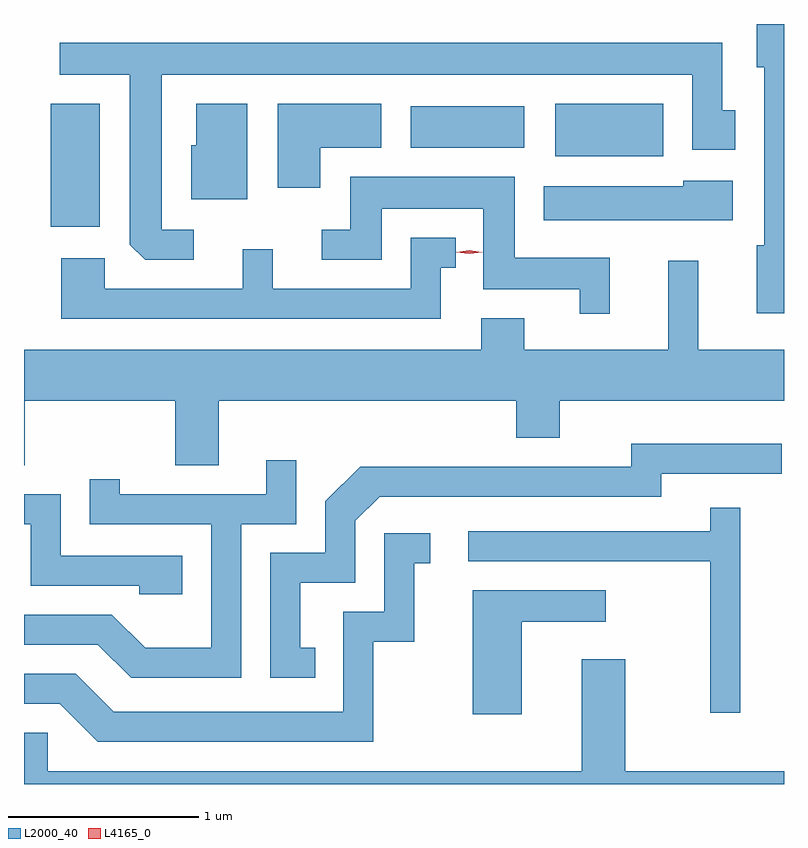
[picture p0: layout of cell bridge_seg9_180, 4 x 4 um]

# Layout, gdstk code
import gdstk
lib = gdstk.Library(unit=1e-6, precision=1e-09)
def R(c, l, rs):  # rectangles x0, y0, x1, y1
    for r in rs: c.add(gdstk.rectangle(r[:2], r[2:], *l))
def P(c, l, *ps):  # polygons
    for p in ps: c.add(gdstk.Polygon(p, *l))
L2000_40 = (2000, 40)
L4165_0 = (4165, 0)

bridge_seg9_180 = lib.new_cell('bridge_seg9_180')
R(bridge_seg9_180, L2000_40, [(1099.196,2065.991,1099.454,2066.639), (1101.851,2066.361,1102.419,2066.639), (1101.091,2066.406,1101.689,2066.624)])
P(bridge_seg9_180, L2000_40, [(1103.055,2067.058),(1102.911,2067.058),(1102.911,2066.831),(1102.951,2066.831),(1102.951,2065.894),(1102.911,2065.894),(1102.911,2065.536),(1103.055,2065.536)],
  [(1099.948,2065.974),(1099.779,2065.974),(1099.779,2066.791),(1102.571,2066.791),(1102.571,2066.396),(1102.799,2066.396),(1102.799,2066.604),(1102.729,2066.604),(1102.729,2066.959),(1099.243,2066.959),(1099.243,2066.791),(1099.611,2066.791),(1099.611,2065.896),(1099.692,2065.816),(1099.948,2065.816)],
  [(1100.614,2066.406),(1100.934,2066.406),(1100.934,2066.639),(1100.391,2066.639),(1100.391,2066.196),(1100.614,2066.196)],
  [(1100.229,2066.639),(1099.961,2066.639),(1099.961,2066.419),(1099.936,2066.419),(1099.936,2066.136),(1100.229,2066.136)],
  [(1102.139,2065.829),(1101.639,2065.829),(1101.639,2066.254),(1100.771,2066.254),(1100.771,2065.974),(1100.623,2065.974),(1100.623,2065.816),(1100.939,2065.816),(1100.939,2066.086),(1101.471,2066.086),(1101.471,2065.661),(1101.981,2065.661),(1101.981,2065.533),(1102.139,2065.533)],
  [(1102.784,2066.234),(1102.526,2066.234),(1102.526,2066.204),(1101.791,2066.204),(1101.791,2066.026),(1102.784,2066.026)],
  [(1101.249,2065.776),(1101.328,2065.776),(1101.328,2065.934),(1101.091,2065.934),(1101.091,2065.664),(1100.364,2065.664),(1100.364,2065.873),(1100.206,2065.873),(1100.206,2065.664),(1099.479,2065.664),(1099.479,2065.824),(1099.251,2065.824),(1099.251,2065.506),(1101.249,2065.506)],
  [(1099.059,2065.076),(1099.851,2065.076),(1099.851,2064.736),(1100.079,2064.736),(1100.079,2065.076),(1101.646,2065.076),(1101.646,2064.881),(1101.874,2064.881),(1101.874,2065.076),(1103.055,2065.076),(1103.055,2065.344),(1102.604,2065.344),(1102.604,2065.813),(1102.446,2065.813),(1102.446,2065.344),(1101.689,2065.344),(1101.689,2065.509),(1101.461,2065.509),(1101.461,2065.344),(1099.055,2065.344),(1099.055,2064.736),(1099.059,2064.736)],
  [(1100.588,2063.774),(1100.509,2063.774),(1100.509,2064.116),(1100.799,2064.116),(1100.799,2064.443),(1100.927,2064.571),(1102.409,2064.571),(1102.409,2064.691),(1103.043,2064.691),(1103.043,2064.849),(1102.251,2064.849),(1102.251,2064.729),(1100.824,2064.729),(1100.641,2064.547),(1100.641,2064.274),(1100.351,2064.274),(1100.351,2063.616),(1100.588,2063.616)],
  [(1100.199,2064.426),(1100.489,2064.426),(1100.489,2064.762),(1100.331,2064.762),(1100.331,2064.584),(1099.559,2064.584),(1099.559,2064.663),(1099.401,2064.663),(1099.401,2064.426),(1100.041,2064.426),(1100.041,2063.774),(1099.692,2063.774),(1099.517,2063.949),(1099.055,2063.949),(1099.055,2063.791),(1099.444,2063.791),(1099.619,2063.616),(1100.199,2063.616)],
  [(1099.889,2064.259),(1099.249,2064.259),(1099.249,2064.584),(1099.055,2064.584),(1099.055,2064.426),(1099.091,2064.426),(1099.091,2064.101),(1099.661,2064.101),(1099.661,2064.056),(1099.889,2064.056)],
  [(1102.824,2064.512),(1102.666,2064.512),(1102.666,2064.389),(1101.393,2064.389),(1101.393,2064.231),(1102.666,2064.231),(1102.666,2063.433),(1102.824,2063.433)],
  [(1100.894,2063.806),(1101.109,2063.806),(1101.109,2064.221),(1101.193,2064.221),(1101.193,2064.379),(1100.951,2064.379),(1100.951,2063.964),(1100.736,2063.964),(1100.736,2063.439),(1099.527,2063.439),(1099.327,2063.639),(1099.055,2063.639),(1099.055,2063.481),(1099.244,2063.481),(1099.444,2063.281),(1100.894,2063.281)],
  [(1101.674,2063.911),(1102.118,2063.911),(1102.118,2064.079),(1101.416,2064.079),(1101.416,2063.426),(1101.674,2063.426)],
  [(1103.055,2063.124),(1102.219,2063.124),(1102.219,2063.714),(1101.991,2063.714),(1101.991,2063.124),(1099.179,2063.124),(1099.179,2063.329),(1099.055,2063.329),(1099.055,2063.058),(1103.055,2063.058)])
P(bridge_seg9_180, L4165_0, [(1101.398,2065.848),(1101.329,2065.857),(1101.329,2065.857),(1101.329,2065.858),(1101.398,2065.867),(1101.468,2065.858),(1101.468,2065.858),(1101.468,2065.857)])

lib.write_gds('bridge_seg9_180.gds')
